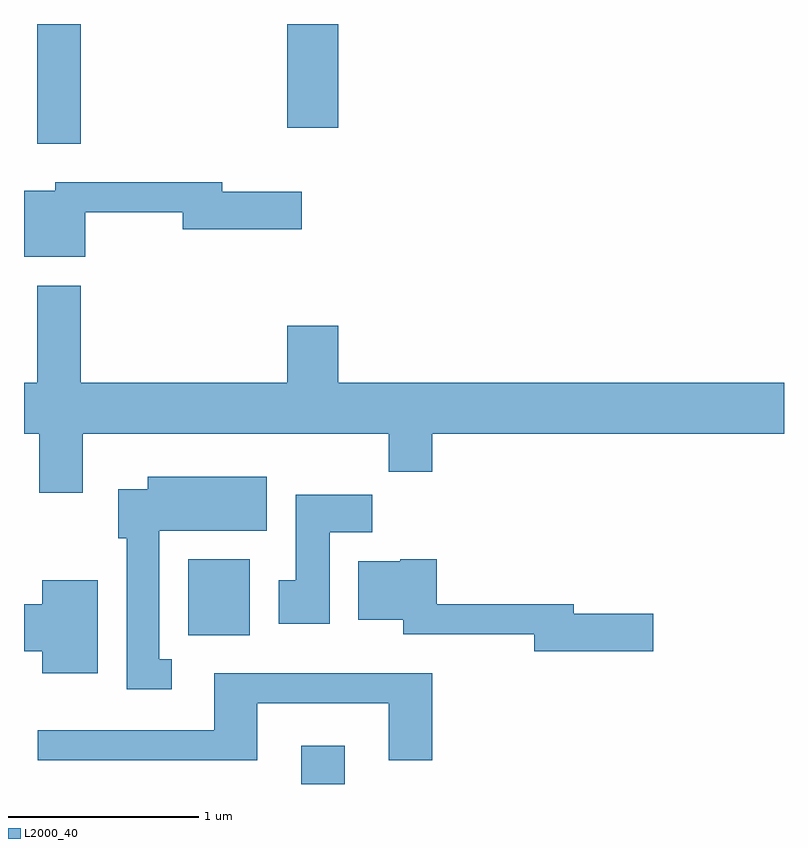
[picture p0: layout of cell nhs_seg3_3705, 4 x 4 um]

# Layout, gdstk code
import gdstk
lib = gdstk.Library(unit=1e-6, precision=1e-09)
def R(c, l, rs):  # rectangles x0, y0, x1, y1
    for r in rs: c.add(gdstk.rectangle(r[:2], r[2:], *l))
def P(c, l, *ps):  # polygons
    for p in ps: c.add(gdstk.Polygon(p, *l))
L2000_40 = (2000, 40)

nhs_seg3_3705 = lib.new_cell('nhs_seg3_3705')
R(nhs_seg3_3705, L2000_40, [(295.071,1181.892,295.299,1182.094), (294.476,1182.676,294.799,1183.074), (293.681,1185.261,293.909,1185.892), (294.996,1185.346,295.264,1185.892)])
P(nhs_seg3_3705, L2000_40, [(293.934,1184.901),(294.446,1184.901),(294.446,1184.811),(295.074,1184.811),(295.074,1185.009),(294.654,1185.009),(294.654,1185.059),(293.776,1185.059),(293.776,1185.014),(293.611,1185.014),(293.611,1184.666),(293.934,1184.666)],
  [(293.919,1183.736),(295.531,1183.736),(295.531,1183.536),(295.759,1183.536),(295.759,1183.736),(297.611,1183.736),(297.611,1184.004),(295.264,1184.004),(295.264,1184.304),(294.996,1184.304),(294.996,1184.004),(293.909,1184.004),(293.909,1184.514),(293.681,1184.514),(293.681,1184.004),(293.611,1184.004),(293.611,1183.736),(293.691,1183.736),(293.691,1183.426),(293.919,1183.426)],
  [(294.388,1182.549),(294.324,1182.549),(294.324,1183.226),(294.889,1183.226),(294.889,1183.509),(294.261,1183.509),(294.261,1183.444),(294.106,1183.444),(294.106,1183.186),(294.151,1183.186),(294.151,1182.391),(294.388,1182.391)],
  [(295.219,1183.216),(295.444,1183.216),(295.444,1183.414),(295.041,1183.414),(295.041,1182.964),(294.951,1182.964),(294.951,1182.736),(295.219,1182.736)],
  [(296.924,1182.789),(296.504,1182.789),(296.504,1182.839),(295.784,1182.839),(295.784,1183.074),(295.59,1183.074),(295.59,1183.064),(295.371,1183.064),(295.371,1182.756),(295.606,1182.756),(295.606,1182.681),(296.296,1182.681),(296.296,1182.591),(296.924,1182.591)],
  [(293.999,1182.964),(293.706,1182.964),(293.706,1182.839),(293.611,1182.839),(293.611,1182.591),(293.706,1182.591),(293.706,1182.476),(293.999,1182.476)],
  [(294.839,1182.316),(295.531,1182.316),(295.531,1182.016),(295.759,1182.016),(295.759,1182.474),(294.611,1182.474),(294.611,1182.174),(293.683,1182.174),(293.683,1182.016),(294.839,1182.016)])

lib.write_gds('nhs_seg3_3705.gds')
